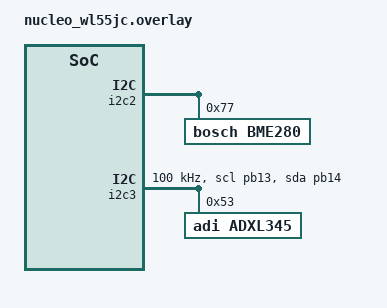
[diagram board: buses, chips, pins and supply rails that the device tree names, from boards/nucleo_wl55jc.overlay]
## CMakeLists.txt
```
cmake_minimum_required(VERSION 3.20.0)
find_package(Zephyr REQUIRED HINTS $ENV{ZEPHYR_BASE})
project(sensors_test)

target_sources(app PRIVATE src/main.c)
```

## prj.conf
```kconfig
CONFIG_GPIO=y
CONFIG_I2C=y
CONFIG_SENSOR=y
CONFIG_SENSOR_ASYNC_API=y
CONFIG_BME280=y
CONFIG_ADXL345=y
CONFIG_LOG=y
CONFIG_LOG_DEFAULT_LEVEL=3
# Enable console over UART (default)
CONFIG_UART_CONSOLE=y
```

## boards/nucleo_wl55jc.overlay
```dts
/* 
 * Devicetree overlay for dual sensor setup on Nucleo WL55JC1
 * - BME280 on I2C2 (PA11/PA12) - Temperature, Pressure, Humidity
 * - ADXL345 on I2C3 (PB13/PB14) - Accelerometer
 */

/* BME280 on I2C2 (pre-configured on this board) */
&i2c2 {
    bme280@77 {
        compatible = "bosch,bme280";
        reg = <0x77>;
        status = "okay";
    };
};

/* ADXL345 on I2C3 with custom pinctrl */
&i2c3 {
    status = "okay";
    pinctrl-0 = <&i2c3_scl_pb13 &i2c3_sda_pb14>;
    pinctrl-names = "default";
    clock-frequency = <100000>;
    
    adxl345@53 {
        compatible = "adi,adxl345";
        reg = <0x53>;
        status = "okay";
    };
};

/* Pinctrl definitions for I2C3 on STM32WL55JC1 */
&pinctrl {
    i2c3_scl_pb13: i2c3_scl_pb13 {
        pinmux = <STM32_PINMUX('B', 13, AF4)>;
        bias-pull-up;
        drive-open-drain;
    };
    
    i2c3_sda_pb14: i2c3_sda_pb14 {
        pinmux = <STM32_PINMUX('B', 14, AF4)>;
        bias-pull-up;
        drive-open-drain;
    };
};
```

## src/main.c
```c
/*
 * Dual Sensor Reader for Nucleo WL55JC1 using Zephyr sensor API
 * 
 * Simultaneously reads:
 * - BME280 (Temperature, Pressure, Humidity) via I2C2
 * - ADXL345 (3-axis Acceleration) via I2C3
 * 
 * Outputs sensor data to UART console every second
 */

#include <zephyr/kernel.h>
#include <zephyr/device.h>
#include <zephyr/devicetree.h>
#include <zephyr/drivers/sensor.h>
#include <zephyr/drivers/sensor_data_types.h>
#include <zephyr/rtio/rtio.h>
#include <zephyr/dsp/print_format.h>
#include <zephyr/logging/log.h>

LOG_MODULE_REGISTER(sensors_test, LOG_LEVEL_INF);

/* ==================== BME280 Setup ==================== */
const struct device *const bme280_dev = DEVICE_DT_GET_ANY(bosch_bme280);

SENSOR_DT_READ_IODEV(bme280_iodev, DT_COMPAT_GET_ANY_STATUS_OKAY(bosch_bme280),
        {SENSOR_CHAN_AMBIENT_TEMP, 0},
        {SENSOR_CHAN_HUMIDITY, 0},
        {SENSOR_CHAN_PRESS, 0});

RTIO_DEFINE(bme280_ctx, 1, 1);

/* ==================== ADXL345 Setup ==================== */
const struct device *const adxl345_dev = DEVICE_DT_GET_ANY(adi_adxl345);

/* ==================== Device Initialization ==================== */

/**
 * Initialize and verify BME280 sensor
 * Returns the device pointer or NULL if initialization failed
 */
static const struct device *init_bme280(void)
{
    if (bme280_dev == NULL) {
        LOG_ERR("BME280: Device not found in devicetree. Check overlay setup.");
        return NULL;
    }

    if (!device_is_ready(bme280_dev)) {
        LOG_ERR("BME280: Device '%s' is not ready.", bme280_dev->name);
        return NULL;
    }

    LOG_INF("BME280: Initialized on I2C2 (PA11/PA12)");
    return bme280_dev;
}

/**
 * Initialize and verify ADXL345 sensor
 * Returns the device pointer or NULL if initialization failed
 */
static const struct device *init_adxl345(void)
{
    if (adxl345_dev == NULL) {
        LOG_ERR("ADXL345: Device not found in devicetree. Check overlay configuration.");
        return NULL;
    }

    if (!device_is_ready(adxl345_dev)) {
        LOG_ERR("ADXL345: Device '%s' is not ready.", adxl345_dev->name);
        return NULL;
    }

    LOG_INF("ADXL345: Initialized on I2C3 (PB13/PB14)");
    return adxl345_dev;
}

/* ==================== Sensor Reading Functions ==================== */

/**
 * Read BME280 sensor data (Temperature, Pressure, Humidity)
 * Returns 0 on success, error code on failure
 */
static int read_bme280_data(struct sensor_q31_data *temp_data,
                            struct sensor_q31_data *press_data,
                            struct sensor_q31_data *hum_data)
{
    uint8_t buf[128];
    
    /* Read sensor data asynchronously using RTIO */
    int rc = sensor_read(&bme280_iodev, &bme280_ctx, buf, sizeof(buf));
    if (rc != 0) {
        LOG_ERR("BME280: sensor_read() failed: %d", rc);
        return rc;
    }

    /* Get the decoder API */
    const struct sensor_decoder_api *decoder;
    rc = sensor_get_decoder(bme280_dev, &decoder);
    if (rc != 0) {
        LOG_ERR("BME280: sensor_get_decoder() failed: %d", rc);
        return rc;
    }

    /* Decode temperature data */
    uint32_t temp_fit = 0;
    decoder->decode(buf,
                    (struct sensor_chan_spec){SENSOR_CHAN_AMBIENT_TEMP, 0},
                    &temp_fit, 1, temp_data);

    /* Decode pressure data */
    uint32_t press_fit = 0;
    decoder->decode(buf,
                    (struct sensor_chan_spec){SENSOR_CHAN_PRESS, 0},
                    &press_fit, 1, press_data);

    /* Decode humidity data */
    uint32_t hum_fit = 0;
    decoder->decode(buf,
                    (struct sensor_chan_spec){SENSOR_CHAN_HUMIDITY, 0},
                    &hum_fit, 1, hum_data);

    return 0;
}

/**
 * Read ADXL345 sensor data (X, Y, Z acceleration)
 * Returns 0 on success, error code on failure
 */
static int read_adxl345_data(struct sensor_value accel[3])
{
    /* Fetch sample from the sensor */
    int rc = sensor_sample_fetch(adxl345_dev);
    if (rc != 0) {
        LOG_ERR("ADXL345: sensor_sample_fetch() failed: %d", rc);
        return rc;
    }

    /* Get acceleration data for all three axes */
    rc = sensor_channel_get(adxl345_dev, SENSOR_CHAN_ACCEL_X, &accel[0]);
    if (rc != 0) {
        LOG_ERR("ADXL345: sensor_channel_get(ACCEL_X) failed: %d", rc);
        return rc;
    }

    rc = sensor_channel_get(adxl345_dev, SENSOR_CHAN_ACCEL_Y, &accel[1]);
    if (rc != 0) {
        LOG_ERR("ADXL345: sensor_channel_get(ACCEL_Y) failed: %d", rc);
        return rc;
    }

    rc = sensor_channel_get(adxl345_dev, SENSOR_CHAN_ACCEL_Z, &accel[2]);
    if (rc != 0) {
        LOG_ERR("ADXL345: sensor_channel_get(ACCEL_Z) failed: %d", rc);
        return rc;
    }

    return 0;
}

/* ==================== Main Application ==================== */

int main(void)
{
    LOG_INF("==========================================");
    LOG_INF("Dual Sensor Test Application");
    LOG_INF("STM32 Nucleo WL55JC1 - Zephyr 4.3.0-rc1");
    LOG_INF("==========================================");
    LOG_INF("");

    /* Initialize sensors */
    const struct device *bme280 = init_bme280();
    const struct device *adxl345 = init_adxl345();

    if (bme280 == NULL || adxl345 == NULL) {
        LOG_ERR("Failed to initialize sensors. Halting.");
        return 1;
    }

    LOG_INF("");
    LOG_INF("Starting sensor measurements (every 1 second)...");
    LOG_INF("");

    /* Main reading loop */
    while (1) {
        struct sensor_q31_data temp_data = {0};
        struct sensor_q31_data press_data = {0};
        struct sensor_q31_data hum_data = {0};
        struct sensor_value accel[3] = {0};

        /* Read BME280 data */
        int rc_bme280 = read_bme280_data(&temp_data, &press_data, &hum_data);
        
        /* Read ADXL345 data */
        int rc_adxl345 = read_adxl345_data(accel);

        /* Print results if both readings were successful */
        if (rc_bme280 == 0 && rc_adxl345 == 0) {
            LOG_INF("[BME280] Temp: %s%d.%d Degree | Pressure: %s%d.%d Pa | Humidity: %s%d.%d %%",
                    PRIq_arg(temp_data.readings[0].temperature, 6, temp_data.shift),
                    PRIq_arg(press_data.readings[0].pressure, 6, press_data.shift),
                    PRIq_arg(hum_data.readings[0].humidity, 6, hum_data.shift));
            
            LOG_INF("[ADXL345] Accel X: %d.%06d m/s*s | Y: %d.%06d m/s*s | Z: %d.%06d m/s*s",
                    accel[0].val1, accel[0].val2,
                    accel[1].val1, accel[1].val2,
                    accel[2].val1, accel[2].val2);
            
            LOG_INF("---");
        } else {
            if (rc_bme280 != 0) {
                LOG_ERR("BME280 read failed with code %d", rc_bme280);
            }
            if (rc_adxl345 != 0) {
                LOG_ERR("ADXL345 read failed with code %d", rc_adxl345);
            }
        }

        /* Wait 1 second before next measurement */
        k_sleep(K_SECONDS(1));
    }

    return 0;
}
```
